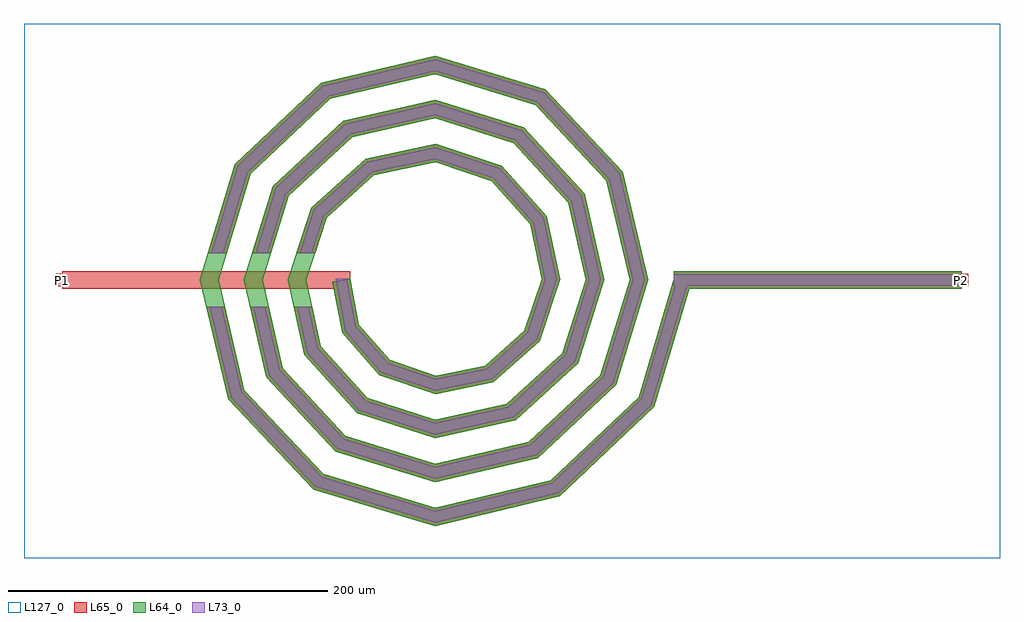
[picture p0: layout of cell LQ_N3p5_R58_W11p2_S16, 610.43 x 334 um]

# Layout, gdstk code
import gdstk
lib = gdstk.Library(unit=1e-6, precision=1e-09)
def R(c, l, rs):  # rectangles x0, y0, x1, y1
    for r in rs: c.add(gdstk.rectangle(r[:2], r[2:], *l))
def P(c, l, *ps):  # polygons
    for p in ps: c.add(gdstk.Polygon(p, *l))
L64_0 = (64, 0)
L65_0 = (65, 0)
L73_0 = (73, 0)
L127_0 = (127, 0)

lq_n3p5_r58_w11p2_s16 = lib.new_cell('LQ_N3p5_R58_W11p2_S16')
R(lq_n3p5_r58_w11p2_s16, L64_0, [(149.361,-5.6,329.361,5.6)])
P(lq_n3p5_r58_w11p2_s16, L64_0, [(-47.579,-27.939),(-28.394,-49.963),(0.378,-59.758),(31.341,-53.554),(55.898,-31.865),(66.634,0.342),(59.526,34.75),(35.331,61.838),(0.312,73.511),(-38.164,65.495),(-67.78,38.792),(-80.388,0.288),(-71.463,-41.583),(-42.25,-73.725),(0.266,-87.265),(45.004,-77.429),(79.671,-45.705),(94.142,0.248),(83.394,48.427),(49.158,85.619),(0.232,101.02),(-51.853,89.358),(-91.568,52.61),(-107.898,0.218),(-95.321,-55.28),(-56.06,-97.518),(0.206,-114.775),(58.709,-101.283),(103.468,-59.509),(121.653,0.195),(107.245,62.138),(62.957,109.42),(0.185,128.531),(-65.569,113.206),(-115.371,66.404),(-135.409,0.176),(-119.167,-69),(-69.85,-121.324),(0.167,-142.287),(72.433,-125.127),(127.276,-73.295),(149.594,1.599),(160.327,-1.599),(137.152,-79.372),(77.942,-135.33),(0.167,-153.878),(-75.94,-131.191),(-129.377,-74.496),(-146.999,0.176),(-125.23,72.508),(-71.05,123.425),(0.185,140.121),(69.077,119.269),(117.473,67.602),(133.243,0.195),(113.307,-65.646),(64.154,-111.521),(0.206,-126.364),(-62.217,-107.344),(-105.57,-60.704),(-119.486,0.218),(-101.381,58.789),(-57.253,99.62),(0.232,112.607),(55.362,95.416),(93.67,53.801),(105.728,0.248),(89.451,-51.938),(50.346,-87.722),(0.266,-98.85),(-48.515,-83.484),(-81.775,-46.889),(-91.971,0.288),(-77.515,45.095),(-43.429,75.829),(0.312,85.091),(41.678,71.544),(69.885,39.965),(78.212,0.342),(65.571,-38.265),(36.496,-63.944),(0.378,-71.332),(-34.858,-59.593),(-58.006,-33.021),(-64.165,-1.06),(-53.168,1.06)])
R(lq_n3p5_r58_w11p2_s16, L65_0, [(-233.067,-5.6,-53.067,5.6), (149.361,-5.6,329.361,5.6), (-237.067,-4,-229.067,4), (325.361,-4,333.361,4)])
P(lq_n3p5_r58_w11p2_s16, L65_0, [(-119.167,-69),(-69.85,-121.324),(0.167,-142.287),(72.433,-125.127),(127.276,-73.295),(149.594,1.599),(160.327,-1.599),(137.152,-79.372),(77.943,-135.33),(0.167,-153.878),(-75.94,-131.191),(-129.377,-74.497),(-142.993,-16.8),(-131.486,-16.8)],
  [(-95.321,-55.28),(-56.06,-97.518),(0.206,-114.775),(58.709,-101.283),(103.468,-59.509),(121.653,0.195),(107.245,62.138),(62.957,109.42),(0.185,128.531),(-65.569,113.206),(-115.371,66.404),(-130.3,16.8),(-141.996,16.8),(-125.23,72.508),(-71.05,123.425),(0.185,140.121),(69.077,119.269),(117.473,67.602),(133.243,0.195),(113.307,-65.647),(64.154,-111.521),(0.206,-126.364),(-62.217,-107.344),(-105.57,-60.704),(-115.599,-16.8),(-104.11,-16.8)],
  [(-71.463,-41.583),(-42.25,-73.725),(0.266,-87.265),(45.004,-77.429),(79.671,-45.705),(94.142,0.248),(83.394,48.427),(49.158,85.619),(0.232,101.02),(-51.853,89.358),(-91.568,52.61),(-102.637,16.8),(-114.36,16.8),(-101.381,58.789),(-57.253,99.62),(0.232,112.607),(55.363,95.416),(93.67,53.801),(105.728,0.248),(89.451,-51.938),(50.346,-87.722),(0.266,-98.85),(-48.515,-83.484),(-81.775,-46.889),(-88.278,-16.8),(-76.819,-16.8)],
  [(-28.394,-49.963),(0.378,-59.758),(31.341,-53.554),(55.898,-31.865),(66.634,0.342),(59.526,34.75),(35.331,61.838),(0.313,73.511),(-38.164,65.495),(-67.78,38.792),(-74.875,16.8),(-86.643,16.8),(-77.515,45.095),(-43.429,75.829),(0.313,85.091),(41.678,71.544),(69.885,39.965),(78.212,0.342),(65.571,-38.265),(36.496,-63.944),(0.378,-71.332),(-34.858,-59.593),(-58.006,-33.021),(-64.165,-1.06),(-53.168,1.06),(-47.579,-27.939)])
R(lq_n3p5_r58_w11p2_s16, L73_0, [(149.361,-3.6,329.361,3.6)])
P(lq_n3p5_r58_w11p2_s16, L73_0, [(-120.99,-69.982),(-70.937,-123.086),(0.108,-144.357),(73.417,-126.949),(129.04,-74.381),(151.51,1.028),(158.411,-1.028),(135.389,-78.287),(76.959,-133.508),(0.108,-151.808),(-74.852,-129.429),(-127.554,-73.515),(-140.938,-16.8),(-133.541,-16.8)],
  [(-97.151,-56.249),(-57.159,-99.272),(0.132,-116.845),(59.681,-103.111),(105.225,-60.605),(123.723,0.125),(109.071,63.114),(64.049,111.178),(0.119,130.601),(-66.548,115.031),(-117.132,67.494),(-132.389,16.8),(-139.908,16.8),(-123.47,71.418),(-70.071,121.6),(0.119,138.051),(67.984,117.51),(115.646,66.627),(131.173,0.125),(111.55,-64.55),(63.181,-109.693),(0.132,-124.295),(-61.118,-105.589),(-103.74,-59.736),(-113.547,-16.8),(-106.162,-16.8)],
  [(-73.304,-42.53),(-43.369,-75.468),(0.171,-89.334),(45.958,-79.267),(81.418,-46.818),(96.211,0.159),(85.229,49.387),(50.266,87.369),(0.149,103.089),(-52.817,91.19),(-93.32,53.713),(-104.731,16.8),(-112.267,16.8),(-99.628,57.686),(-56.289,97.787),(0.149,110.538),(54.255,93.667),(91.835,52.841),(103.659,0.159),(87.704,-50.825),(49.392,-85.884),(0.171,-96.781),(-47.396,-81.741),(-79.933,-45.942),(-86.231,-16.8),(-78.865,-16.8)],
  [(-29.548,-51.682),(0.243,-61.824),(32.262,-55.409),(57.625,-33.008),(68.701,0.22),(61.376,35.682),(36.464,63.571),(0.201,75.579),(-39.105,67.341),(-69.519,39.917),(-76.977,16.8),(-84.542,16.8),(-75.777,43.969),(-42.489,73.984),(0.201,83.023),(40.544,69.811),(68.035,39.034),(76.144,0.22),(63.843,-37.122),(35.576,-62.088),(0.243,-69.265),(-33.704,-57.873),(-56.144,-32.113),(-62.201,0.681),(-55.132,0.681),(-49.441,-28.846)])
R(lq_n3p5_r58_w11p2_s16, L127_0, [(-257.067,-173.878,353.361,160.121)])
lq_n3p5_r58_w11p2_s16.add(gdstk.Label('P2', (329.361,0), layer=65, texttype=0))
lq_n3p5_r58_w11p2_s16.add(gdstk.Label('P1', (-233.067,0), layer=65, texttype=0))
lq_n3p5_r58_w11p2_s16.add(gdstk.Label('P2', (333.361,0), layer=145, texttype=0))
lq_n3p5_r58_w11p2_s16.add(gdstk.Label('P1', (-237.067,0), layer=145, texttype=0))

lib.write_gds('LQ_N3p5_R58_W11p2_S16.gds')
